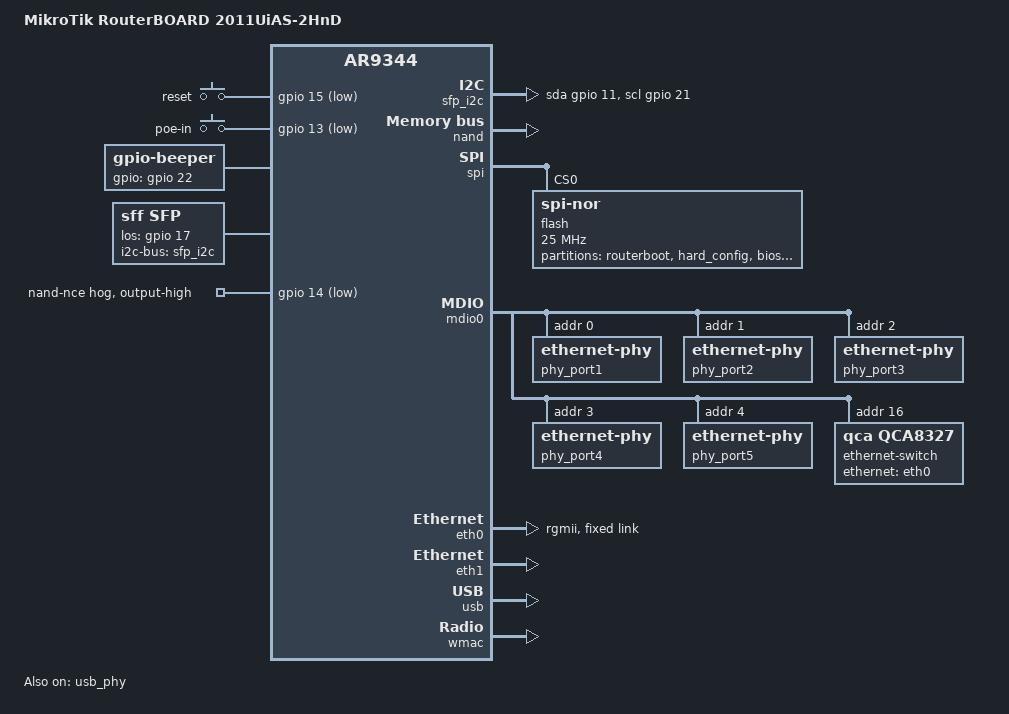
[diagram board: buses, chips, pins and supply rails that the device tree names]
// SPDX-License-Identifier: GPL-2.0-or-later OR MIT

#include "ar9344.dtsi"

#include <dt-bindings/gpio/gpio.h>
#include <dt-bindings/input/input.h>
#include <dt-bindings/leds/common.h>

/ {
	model = "MikroTik RouterBOARD 2011UiAS-2HnD";
	compatible = "mikrotik,routerboard-2011uias-2hnd", "qca,ar9344";

	aliases {
		led-boot = &led_user;
		led-failsafe = &led_user;
		led-running = &led_user;
		led-upgrade = &led_user;
	};

	keys {
		compatible = "gpio-keys";

		reset {
			label = "reset";
			linux,code = <KEY_RESTART>;
			gpios = <&gpio 15 GPIO_ACTIVE_LOW>;
			debounce-interval = <60>;
		};

		poe-in {
			label = "poe-in";
			linux,input-type = <EV_SW>;
			linux,code = <BTN_1>;
			gpios = <&gpio 13 GPIO_ACTIVE_LOW>;
			debounce-interval = <60>;
		};
	};

	beeper {
		compatible = "gpio-beeper";
		gpios = <&gpio 22 GPIO_ACTIVE_HIGH>;
	};

	sfp_i2c: i2c-gpio {
		compatible = "i2c-gpio";
		#address-cells = <1>;
		#size-cells = <0>;

		pictrl-names = "default";
		pinctrl-0 = <&pmx_sfp_i2c>;

		sda-gpios = <&gpio 11 (GPIO_ACTIVE_HIGH | GPIO_OPEN_DRAIN)>;
		scl-gpios = <&gpio 21 (GPIO_ACTIVE_HIGH | GPIO_OPEN_DRAIN)>;
		i2c-gpio,delay-us = <2>;
	};

	sfp {
		/*
		 * SFP port attached throug AR8327 port 6 isn't functional for now
		 * The module detects sucessfully, but lacks some GPIO definitions,
		 * and proper SGMII configuration isn't known yet.
		 */
		compatible = "sff,sfp";
		i2c-bus = <&sfp_i2c>;
		los-gpios = <&gpio 17 GPIO_ACTIVE_HIGH>;
		maximum-power-milliwatt = <1000>;
	};
};

&ref {
	clock-frequency = <25000000>;
};

&gpio {
	nand-nce {
		gpio-hog;
		gpios = <14 GPIO_ACTIVE_LOW>;
		output-high;
		line-name = "nand-nce";
	};
};

&nand {
	status = "okay";

	nand-ecc-mode = "soft";
	nand-ecc-step-size = <2048>;
	qca,nand-swap-dma;
	qca,nand-scan-fixup;

	partitions {
		compatible = "fixed-partitions";
		#address-cells = <1>;
		#size-cells = <1>;

		partition@0 {
			label = "booter";
			reg = <0x0000000 0x0040000>;
			read-only;
		};

		partition@40000 {
			label = "kernel";
			reg = <0x0040000 0x03c0000>;
		};

		partition@400000 {
			label = "ubi";
			reg = <0x0400000 0x0>;
		};
	};
};

&pinmux {
	pmx_sfp_i2c: pinmux_sfp_i2c {
		pinctrl-single,bits = <0x8 0x00000000 0xff000000>; /* set GPIO11 back as GPIO */
	};
};

&spi {
	status = "okay";

	flash@0 {
		compatible = "jedec,spi-nor";
		reg = <0>;
		spi-max-frequency = <25000000>;

		partitions {
			compatible = "mikrotik,routerboot-partitions";
			#address-cells = <1>;
			#size-cells = <1>;

			partition@0 {
				label = "routerboot";
				reg = <0x0 0x0>;
				read-only;
			};

			hard_config {
				read-only;

				nvmem-layout {
					compatible = "fixed-layout";
					#address-cells = <1>;
					#size-cells = <1>;

					macaddr_hardconfig_10: macaddr@10 {
						compatible = "mac-base";
						reg = <0x10 0x6>;
						#nvmem-cell-cells = <1>;
					};
				};
			};

			bios {
				size = <0x1000>;
				read-only;
			};

			soft_config {
			};
		};
	};
};

&mdio0 {
	status = "okay";

	phy_port1: ethernet-phy@0 {
		reg = <0>;
	};

	phy_port2: ethernet-phy@1 {
		reg = <1>;
	};

	phy_port3: ethernet-phy@2 {
		reg = <2>;
	};

	phy_port4: ethernet-phy@3 {
		reg = <3>;
	};

	phy_port5: ethernet-phy@4 {
		reg = <4>;
	};

	ethernet-switch@10 {
		compatible = "qca,qca8327";
		#address-cells = <1>;
		#size-cells = <0>;

		reg = <16>;

		ethernet-ports {
			#address-cells = <1>;
			#size-cells = <0>;

			ethernet-port@0 {
				reg = <0>;
				ethernet = <&eth0>;
				phy-mode = "rgmii-id";
				tx-internal-delay-ps = <3000>;
				rx-internal-delay-ps = <0>;

				fixed-link {
					speed = <1000>;
					full-duplex;
				};
			};

			ethernet-port@1 {
				reg = <1>;
				label = "wan";
				phy-handle = <&phy_port1>;

				leds {
					#address-cells = <1>;
					#size-cells = <0>;

					led@0 {
						reg = <0>;
						color = <LED_COLOR_ID_GREEN>;
						function = LED_FUNCTION_WAN;
						default-state = "keep";
					};

					led@1 {
						reg = <1>;
						color = <LED_COLOR_ID_GREEN>;
						function = "eth";
						function-enumerator = <6>;
					};

					lcd_backlight: led@2 {
						reg = <2>;
						color = <LED_COLOR_ID_WHITE>;
						function = LED_FUNCTION_BACKLIGHT;
						linux,default-trigger = "backlight";
					};
				};
			};

			ethernet-port@2 {
				reg = <2>;
				label = "lan1";
				phy-handle = <&phy_port2>;

				leds {
					#address-cells = <1>;
					#size-cells = <0>;

					led@0 {
						reg = <0>;
						color = <LED_COLOR_ID_GREEN>;
						function = LED_FUNCTION_LAN;
						default-state = "keep";
					};

					led@1 {
						reg = <1>;
						color = <LED_COLOR_ID_GREEN>;
						function = "eth";
						function-enumerator = <7>;
					};
				};
			};

			ethernet-port@3 {
				reg = <3>;
				label = "lan2";
				phy-handle = <&phy_port3>;

				leds {
					#address-cells = <1>;
					#size-cells = <0>;

					led@0 {
						reg = <0>;
						color = <LED_COLOR_ID_GREEN>;
						function = LED_FUNCTION_LAN;
						default-state = "keep";
					};

					led@1 {
						reg = <1>;
						color = <LED_COLOR_ID_GREEN>;
						function = "eth";
						function-enumerator = <8>;
					};
				};
			};

			ethernet-port@4 {
				reg = <4>;
				label = "lan3";
				phy-handle = <&phy_port4>;

				leds {
					#address-cells = <1>;
					#size-cells = <0>;

					led@0 {
						reg = <0>;
						color = <LED_COLOR_ID_GREEN>;
						function = LED_FUNCTION_LAN;
						default-state = "keep";
					};

					led@1 {
						reg = <1>;
						color = <LED_COLOR_ID_GREEN>;
						function = "eth";
						function-enumerator = <9>;
					};
				};
			};

			ethernet-port@5 {
				reg = <5>;
				label = "lan4";
				phy-handle = <&phy_port5>;

				leds {
					#address-cells = <1>;
					#size-cells = <0>;

					led@0 {
						reg = <0>;
						color = <LED_COLOR_ID_GREEN>;
						function = LED_FUNCTION_LAN;
						default-state = "keep";
					};

					led@1 {
						reg = <1>;
						color = <LED_COLOR_ID_GREEN>;
						function = "eth";
						function-enumerator = <10>;
					};

					led_user: led@2 {
						reg = <2>;
						color = <LED_COLOR_ID_GREEN>;
						function = "user";
					};
				};
			};
		};
	};
};

&eth0 {
	status = "okay";

	/* default for ar934x, except for 1000M */
	pll-data = <0x6f000000 0x00000101 0x00001616>;

	phy-mode = "rgmii";

	nvmem-cells = <&macaddr_hardconfig_10 0>;
	nvmem-cell-names = "mac-address";

	fixed-link {
		speed = <1000>;
		full-duplex;
	};

	gmac-config {
		device = <&gmac>;
		rgmii-gmac0 = <1>;
		switch-phy-swap = <0>;
		switch-only-mode = <1>;
		rxd-delay = <1>;
		rxdv-delay = <1>;
	};
};

&builtin_switch {
	/delete-property/ qca,phy4-mii-enable;
};

&eth1 {
	status = "okay";

	nvmem-cells = <&macaddr_hardconfig_10 5>;
	nvmem-cell-names = "mac-address";
};

&usb {
	status = "okay";
};

&usb_phy {
	status = "okay";
};

&wmac {
	status = "okay";

	qca,no-eeprom;

	led {
		led-sources = <4>;
		led-active-low;
	};
};
